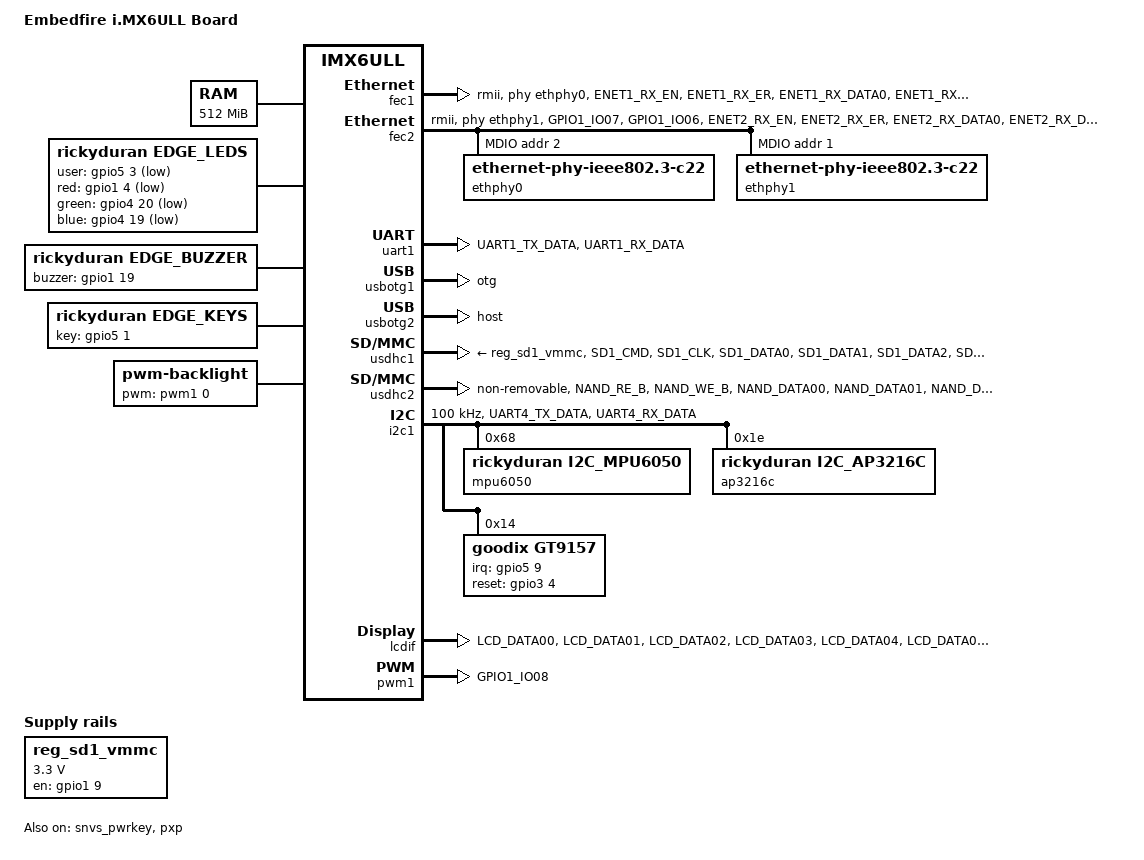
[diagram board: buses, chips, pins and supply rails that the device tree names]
/*
 * Copyright (C) 2016 Freescale Semiconductor, Inc.
 *
 * This program is free software; you can redistribute it and/or modify
 * it under the terms of the GNU General Public License version 2 as
 * published by the Free Software Foundation.
 */

/dts-v1/;

#include <dt-bindings/input/input.h>
#include "imx6ull.dtsi"

/ {
	model = "Embedfire i.MX6ULL Board";
	compatible = "fsl,imx6ull-14x14-evk", "fsl,imx6ull";

	aliases {
		pwm0 = &pwm1;
		pwm1 = &pwm2;
		pwm2 = &pwm3;
		pwm3 = &pwm4;
	};
	chosen {
		stdout-path = &uart1;
	};

	memory {
		reg = <0x80000000 0x20000000>;
	};

	reserved-memory {
		#address-cells = <1>;
		#size-cells = <1>;
		ranges;

		linux,cma {
			compatible = "shared-dma-pool";
			reusable;
			size = <0x14000000>;
			linux,cma-default;
		};
	};

	regulators {
		compatible = "simple-bus";
		#address-cells = <1>;
		#size-cells = <0>;


		reg_sd1_vmmc: regulator@1 {
			compatible = "regulator-fixed";
			regulator-name = "VSD_3V3";
			regulator-min-microvolt = <3300000>;
			regulator-max-microvolt = <3300000>;
			gpio = <&gpio1 9 GPIO_ACTIVE_HIGH>;
			off-on-delay = <20000>;
			enable-active-high;
		};
/*
		reg_gpio_dvfs: regulator-gpio {
			compatible = "regulator-gpio";
			pinctrl-names = "default";
			pinctrl-0 = <&pinctrl_dvfs>;
			regulator-min-microvolt = <1300000>;
			regulator-max-microvolt = <1400000>;
			regulator-name = "gpio_dvfs";
			regulator-type = "voltage";
			gpios = <&gpio5 3 GPIO_ACTIVE_HIGH>;
			states = <1300000 0x1 1400000 0x0>;
		};
*/
	};

	leds {
		compatible = "gpio-leds";
		pinctrl-names = "default";
		pinctrl-0 = <&pinctrl_led>;
		status = "disabled";

		led0: cpu {
			label = "cpu";
			gpios = <&gpio5 3 GPIO_ACTIVE_LOW>;
			default-state = "on";
			linux,default-trigger = "heartbeat";
		};
	};

	edge_leds {
		compatible = "rickyduran,edge_leds";
		pinctrl-names = "default";
		pinctrl-0 = <&pinctrl_leds &pinctrl_led>;

		user-gpios  = <&gpio5 3 GPIO_ACTIVE_LOW>;
		red-gpios   = <&gpio1 4 GPIO_ACTIVE_LOW>;
		green-gpios = <&gpio4 20 GPIO_ACTIVE_LOW>;
		blue-gpios  = <&gpio4 19 GPIO_ACTIVE_LOW>;

		status = "okay";
	};


	edge_buzzer {
		compatible = "rickyduran,edge_buzzer";
		pinctrl-names = "default";
		pinctrl-0 = <&pinctrl_buzzer>;

		buzzer-gpios = <&gpio1 19 GPIO_ACTIVE_HIGH>;

		status = "okay";
	};


	edge_keys {
		compatible = "rickyduran,edge_keys";
		pinctrl-names = "default";
		pinctrl-0 = <&pinctrl_key>;

		key-gpios = <&gpio5 1 GPIO_ACTIVE_HIGH>;
		key-code = <KEY_ENTER>;
		debounce-ms = <20>;

		status = "okay";
	};
	
	backlight {
		compatible = "pwm-backlight";
		pwms = <&pwm1 0 5000000>;
		brightness-levels = <0 4 8 16 32 64 128 255>;
		default-brightness-level = <6>;
		status = "okay";
	};


	/* External sound card */
	sound: sound {
				status = "disabled";
	};

	spi4: 74hc595 {
		compatible = "spi-gpio";
		pinctrl-names = "default";
		pinctrl-0 = <&pinctrl_spi4>;
		pinctrl-assert-gpios = <&gpio5 8 GPIO_ACTIVE_LOW>;
		status = "disabled";
		gpio-sck = <&gpio5 11 0>;
		gpio-mosi = <&gpio5 10 0>;
		cs-gpios = <&gpio5 7 0>;
		num-chipselects = <1>;
		#address-cells = <1>;
		#size-cells = <0>;

		gpio_spi: gpio_spi@0 {
			compatible = "fairchild,74hc595";
			gpio-controller;
			#gpio-cells = <2>;
			reg = <0>;
			registers-number = <1>;
			registers-default = /bits/ 8 <0x57>;
			spi-max-frequency = <100000>;
		};
	};
};

&cpu0 {
	/*dc-supply = <&reg_gpio_dvfs>;*/
	clock-frequency = <800000000>;
};

&clks {
	assigned-clocks = <&clks IMX6UL_CLK_PLL4_AUDIO_DIV>;
	assigned-clock-rates = <786432000>;
};


&fec1 {
	pinctrl-names = "default";
	pinctrl-0 = <&pinctrl_enet1>;
	phy-mode = "rmii";
	phy-handle = <&ethphy0>;
	status = "okay";
};

&fec2 {
	pinctrl-names = "default";
	pinctrl-0 = <&pinctrl_enet2>;
	phy-mode = "rmii";
	phy-handle = <&ethphy1>;
	status = "okay";

	mdio {
		#address-cells = <1>;
		#size-cells = <0>;

		ethphy0: ethernet-phy@2 {
			compatible = "ethernet-phy-ieee802.3-c22";
			reg = <2>;
			micrel,led-mode = <1>;
			clocks = <&clks IMX6UL_CLK_ENET_REF>;
			clock-names = "rmii-ref";
		};

		ethphy1: ethernet-phy@1 {
			compatible = "ethernet-phy-ieee802.3-c22";
			reg = <1>;
			micrel,led-mode = <1>;
			clocks = <&clks IMX6UL_CLK_ENET2_REF>;
			clock-names = "rmii-ref";
		};
	};
};


&gpc {
	fsl,cpu_pupscr_sw2iso = <0xf>;
	fsl,cpu_pupscr_sw = <0x0>;
	fsl,cpu_pdnscr_iso2sw = <0x1>;
	fsl,cpu_pdnscr_iso = <0x1>;
	fsl,ldo-bypass = <0>; /* DCDC, ldo-enable */
};


&iomuxc {
	pinctrl-names = "default";
	pinctrl-0 = <&pinctrl_hog_1>;

	pinctrl_hog_1: hoggrp-1 {
		fsl,pins = <
			/* MX6UL_PAD_UART1_RTS_B__GPIO1_IO19	0x17059 */  /* SD1 CD */
			MX6UL_PAD_GPIO1_IO05__USDHC1_VSELECT	0x17059 /* SD1 VSELECT */
			MX6UL_PAD_GPIO1_IO09__GPIO1_IO09        0x17059 /* SD1 RESET */
		>;
	};

	pinctrl_enet1: enet1grp {
		fsl,pins = <
			MX6UL_PAD_ENET1_RX_EN__ENET1_RX_EN	0x1b0b0
			MX6UL_PAD_ENET1_RX_ER__ENET1_RX_ER	0x1b0b0
			MX6UL_PAD_ENET1_RX_DATA0__ENET1_RDATA00	0x1b0b0
			MX6UL_PAD_ENET1_RX_DATA1__ENET1_RDATA01	0x1b0b0
			MX6UL_PAD_ENET1_TX_EN__ENET1_TX_EN	0x1b0b0
			MX6UL_PAD_ENET1_TX_DATA0__ENET1_TDATA00	0x1b0b0
			MX6UL_PAD_ENET1_TX_DATA1__ENET1_TDATA01	0x1b0b0
			MX6UL_PAD_ENET1_TX_CLK__ENET1_REF_CLK1	0x4001b031
		>;
	};

	pinctrl_enet2: enet2grp {
		fsl,pins = <
			MX6UL_PAD_GPIO1_IO07__ENET2_MDC		0x1b0b0
			MX6UL_PAD_GPIO1_IO06__ENET2_MDIO	0x1b0b0
			MX6UL_PAD_ENET2_RX_EN__ENET2_RX_EN	0x1b0b0
			MX6UL_PAD_ENET2_RX_ER__ENET2_RX_ER	0x1b0b0
			MX6UL_PAD_ENET2_RX_DATA0__ENET2_RDATA00	0x1b0b0
			MX6UL_PAD_ENET2_RX_DATA1__ENET2_RDATA01	0x1b0b0
			MX6UL_PAD_ENET2_TX_EN__ENET2_TX_EN	0x1b0b0
			MX6UL_PAD_ENET2_TX_DATA0__ENET2_TDATA00	0x1b0b0
			MX6UL_PAD_ENET2_TX_DATA1__ENET2_TDATA01	0x1b0b0
			MX6UL_PAD_ENET2_TX_CLK__ENET2_REF_CLK2	0x4001b031
		>;
	};

	pinctrl_uart1: uart1grp {
		fsl,pins = <
			MX6UL_PAD_UART1_TX_DATA__UART1_DCE_TX 0x1b0b1
			MX6UL_PAD_UART1_RX_DATA__UART1_DCE_RX 0x1b0b1
		>;
	};

/*
        pinctrl_dvfs: dvfsgrp {
                fsl,pins = <
                        MX6ULL_PAD_SNVS_TAMPER3__GPIO5_IO03      0x79
                >;
        };
*/
	pinctrl_usdhc1: usdhc1grp {
		fsl,pins = <
			MX6UL_PAD_SD1_CMD__USDHC1_CMD     0x17059
			MX6UL_PAD_SD1_CLK__USDHC1_CLK     0x10071
			MX6UL_PAD_SD1_DATA0__USDHC1_DATA0 0x17059
			MX6UL_PAD_SD1_DATA1__USDHC1_DATA1 0x17059
			MX6UL_PAD_SD1_DATA2__USDHC1_DATA2 0x17059
			MX6UL_PAD_SD1_DATA3__USDHC1_DATA3 0x17059
		>;
	};

	pinctrl_usdhc1_100mhz: usdhc1grp100mhz {
		fsl,pins = <
			MX6UL_PAD_SD1_CMD__USDHC1_CMD     0x170b9
			MX6UL_PAD_SD1_CLK__USDHC1_CLK     0x100b9
			MX6UL_PAD_SD1_DATA0__USDHC1_DATA0 0x170b9
			MX6UL_PAD_SD1_DATA1__USDHC1_DATA1 0x170b9
			MX6UL_PAD_SD1_DATA2__USDHC1_DATA2 0x170b9
			MX6UL_PAD_SD1_DATA3__USDHC1_DATA3 0x170b9
		>;
	};

	pinctrl_usdhc1_200mhz: usdhc1grp200mhz {
		fsl,pins = <
			MX6UL_PAD_SD1_CMD__USDHC1_CMD     0x170f9
			MX6UL_PAD_SD1_CLK__USDHC1_CLK     0x100f9
			MX6UL_PAD_SD1_DATA0__USDHC1_DATA0 0x170f9
			MX6UL_PAD_SD1_DATA1__USDHC1_DATA1 0x170f9
			MX6UL_PAD_SD1_DATA2__USDHC1_DATA2 0x170f9
			MX6UL_PAD_SD1_DATA3__USDHC1_DATA3 0x170f9
		>;
	};

	pinctrl_usdhc2: usdhc2grp {
		fsl,pins = <
			MX6UL_PAD_NAND_RE_B__USDHC2_CLK     0x10069
			MX6UL_PAD_NAND_WE_B__USDHC2_CMD     0x17059
			MX6UL_PAD_NAND_DATA00__USDHC2_DATA0 0x17059
			MX6UL_PAD_NAND_DATA01__USDHC2_DATA1 0x17059
			MX6UL_PAD_NAND_DATA02__USDHC2_DATA2 0x17059
			MX6UL_PAD_NAND_DATA03__USDHC2_DATA3 0x17059
		>;
	};

	pinctrl_usdhc2_8bit: usdhc2grp_8bit {
		fsl,pins = <
			MX6UL_PAD_NAND_RE_B__USDHC2_CLK     0x10059
			MX6UL_PAD_NAND_WE_B__USDHC2_CMD     0x17059
			MX6UL_PAD_NAND_DATA00__USDHC2_DATA0 0x17059
			MX6UL_PAD_NAND_DATA01__USDHC2_DATA1 0x17059
			MX6UL_PAD_NAND_DATA02__USDHC2_DATA2 0x17059
			MX6UL_PAD_NAND_DATA03__USDHC2_DATA3 0x17059
			MX6UL_PAD_NAND_DATA04__USDHC2_DATA4 0x17059
			MX6UL_PAD_NAND_DATA05__USDHC2_DATA5 0x17059
			MX6UL_PAD_NAND_DATA06__USDHC2_DATA6 0x17059
			MX6UL_PAD_NAND_DATA07__USDHC2_DATA7 0x17059
		>;
	};

	pinctrl_usdhc2_8bit_100mhz: usdhc2grp_8bit_100mhz {
		fsl,pins = <
			MX6UL_PAD_NAND_RE_B__USDHC2_CLK     0x100b9
			MX6UL_PAD_NAND_WE_B__USDHC2_CMD     0x170b9
			MX6UL_PAD_NAND_DATA00__USDHC2_DATA0 0x170b9
			MX6UL_PAD_NAND_DATA01__USDHC2_DATA1 0x170b9
			MX6UL_PAD_NAND_DATA02__USDHC2_DATA2 0x170b9
			MX6UL_PAD_NAND_DATA03__USDHC2_DATA3 0x170b9
			MX6UL_PAD_NAND_DATA04__USDHC2_DATA4 0x170b9
			MX6UL_PAD_NAND_DATA05__USDHC2_DATA5 0x170b9
			MX6UL_PAD_NAND_DATA06__USDHC2_DATA6 0x170b9
			MX6UL_PAD_NAND_DATA07__USDHC2_DATA7 0x170b9
		>;
	};

	pinctrl_usdhc2_8bit_200mhz: usdhc2grp_8bit_200mhz {
		fsl,pins = <
			MX6UL_PAD_NAND_RE_B__USDHC2_CLK     0x100f9
			MX6UL_PAD_NAND_WE_B__USDHC2_CMD     0x170f9
			MX6UL_PAD_NAND_DATA00__USDHC2_DATA0 0x170f9
			MX6UL_PAD_NAND_DATA01__USDHC2_DATA1 0x170f9
			MX6UL_PAD_NAND_DATA02__USDHC2_DATA2 0x170f9
			MX6UL_PAD_NAND_DATA03__USDHC2_DATA3 0x170f9
			MX6UL_PAD_NAND_DATA04__USDHC2_DATA4 0x170f9
			MX6UL_PAD_NAND_DATA05__USDHC2_DATA5 0x170f9
			MX6UL_PAD_NAND_DATA06__USDHC2_DATA6 0x170f9
			MX6UL_PAD_NAND_DATA07__USDHC2_DATA7 0x170f9
		>;
	};
	pinctrl_led: ledgrp {
			fsl,pins = <
				MX6ULL_PAD_SNVS_TAMPER3__GPIO5_IO03 0x1b0b0
			>;
		};
	pinctrl_leds: ledsgrp {
        fsl,pins = <
            /* RGB Red: GPIO_4 / pwm3.OUT */
            MX6UL_PAD_GPIO1_IO04__GPIO1_IO04      0x10B0

            /* RGB Green: CSI_HSYNC / pwm8.OUT */
            MX6UL_PAD_CSI_HSYNC__GPIO4_IO20       0x10B0

            /* RGB Blue: CSI_VSYNC / pwm7.OUT */
            MX6UL_PAD_CSI_VSYNC__GPIO4_IO19       0x10B0
        >;
    };
	pinctrl_buzzer: buzzergrp {
        fsl,pins = <
            /* Buzzer: UART1_RTS / GPIO1_IO19 */
            MX6UL_PAD_UART1_RTS_B__GPIO1_IO19     0x10B0
        >;
    };
	pinctrl_touchkey: touchkeygrp {
        fsl,pins = <
            /* Optional touch key: GPIO_0 / GPIO1_IO00 */
            MX6UL_PAD_GPIO1_IO00__GPIO1_IO00      0x1B0B0
        >;
    };
	pinctrl_i2c1: i2c1grp {
		fsl,pins = <
			MX6UL_PAD_UART4_TX_DATA__I2C1_SCL  0x4001b8b0
			MX6UL_PAD_UART4_RX_DATA__I2C1_SDA  0x4001b8b0
		>;
	};
	pinctrl_pwm1: pwm1grp {
        fsl,pins = <
              MX6UL_PAD_GPIO1_IO08__PWM1_OUT 0x110b0
        >;
    };
	pinctrl_lcdif_dat: lcdifdatgrp {
        fsl,pins = <
            MX6UL_PAD_LCD_DATA00__LCDIF_DATA00  0x79
            MX6UL_PAD_LCD_DATA01__LCDIF_DATA01  0x79
            MX6UL_PAD_LCD_DATA02__LCDIF_DATA02  0x79
            MX6UL_PAD_LCD_DATA03__LCDIF_DATA03  0x79
            MX6UL_PAD_LCD_DATA04__LCDIF_DATA04  0x79
            MX6UL_PAD_LCD_DATA05__LCDIF_DATA05  0x79
            MX6UL_PAD_LCD_DATA06__LCDIF_DATA06  0x79
            MX6UL_PAD_LCD_DATA07__LCDIF_DATA07  0x79
            MX6UL_PAD_LCD_DATA08__LCDIF_DATA08  0x79
            MX6UL_PAD_LCD_DATA09__LCDIF_DATA09  0x79
            MX6UL_PAD_LCD_DATA10__LCDIF_DATA10  0x79
            MX6UL_PAD_LCD_DATA11__LCDIF_DATA11  0x79
            MX6UL_PAD_LCD_DATA12__LCDIF_DATA12  0x79
            MX6UL_PAD_LCD_DATA13__LCDIF_DATA13  0x79
            MX6UL_PAD_LCD_DATA14__LCDIF_DATA14  0x79
            MX6UL_PAD_LCD_DATA15__LCDIF_DATA15  0x79
            MX6UL_PAD_LCD_DATA16__LCDIF_DATA16  0x79
            MX6UL_PAD_LCD_DATA17__LCDIF_DATA17  0x79
            MX6UL_PAD_LCD_DATA18__LCDIF_DATA18  0x79
            MX6UL_PAD_LCD_DATA19__LCDIF_DATA19  0x79
            MX6UL_PAD_LCD_DATA20__LCDIF_DATA20  0x79
            MX6UL_PAD_LCD_DATA21__LCDIF_DATA21  0x79
            MX6UL_PAD_LCD_DATA22__LCDIF_DATA22  0x79
            MX6UL_PAD_LCD_DATA23__LCDIF_DATA23  0x79
        >;
    };
	pinctrl_lcdif_ctrl: lcdifctrlgrp {
        fsl,pins = <
            MX6UL_PAD_LCD_CLK__LCDIF_CLK        0x79
            MX6UL_PAD_LCD_ENABLE__LCDIF_ENABLE  0x79
            MX6UL_PAD_LCD_HSYNC__LCDIF_HSYNC    0x79
            MX6UL_PAD_LCD_VSYNC__LCDIF_VSYNC    0x79
        >;
    };
	pinctrl_gt9157_rst: gt9157rstgrp {
        fsl,pins = <
            MX6UL_PAD_LCD_RESET__GPIO3_IO04 0x10b0
        >;
    };
};

&iomuxc_snvs {
	pinctrl-names = "default_snvs";
	pinctrl-0 = <&pinctrl_hog_2>;
	pinctrl_hog_2: hoggrp-2 {
		fsl,pins = <
			MX6ULL_PAD_SNVS_TAMPER0__GPIO5_IO00      0x80000000
		>;
	};
	pinctrl_spi4: spi4grp {
					fsl,pins = <
						MX6ULL_PAD_BOOT_MODE0__GPIO5_IO10		0x70a1
						MX6ULL_PAD_BOOT_MODE1__GPIO5_IO11		0x70a1
						MX6ULL_PAD_SNVS_TAMPER7__GPIO5_IO07		0x70a1
						MX6ULL_PAD_SNVS_TAMPER8__GPIO5_IO08		0x80000000
					>;
	};
    pinctrl_key: keygrp {
        fsl,pins = <
            /* KEY: SNVS_TAMPER1 / GPIO5_IO01 */
            MX6ULL_PAD_SNVS_TAMPER1__GPIO5_IO01   0x1B0B0
        >;
    };
	pinctrl_gt9157_irq: gt9157irqgrp {
        fsl,pins = <
            MX6ULL_PAD_SNVS_TAMPER9__GPIO5_IO09 0x1b0b0
        >;
    };
};

&snvs_pwrkey {
	status = "okay";
};

&pxp {
	status = "okay";
};


&uart1 {
	pinctrl-names = "default";
	pinctrl-0 = <&pinctrl_uart1>;
	status = "okay";
};


&usbotg1 {
	dr_mode = "otg";
	srp-disable;
	hnp-disable;
	adp-disable;
	status = "okay";
};

&usbotg2 {
	dr_mode = "host";
	disable-over-current;
	status = "okay";
};

&usbphy1 {
	fsl,tx-d-cal = <106>;
};

&usbphy2 {
	fsl,tx-d-cal = <106>;
};

&usdhc1 {
	pinctrl-names = "default", "state_100mhz", "state_200mhz";
	pinctrl-0 = <&pinctrl_usdhc1>;
	pinctrl-1 = <&pinctrl_usdhc1_100mhz>;
	pinctrl-2 = <&pinctrl_usdhc1_200mhz>;
	no-1-8-v;
	/*cd-gpios = <&gpio1 19 GPIO_ACTIVE_LOW>;*/
	keep-power-in-suspend;
	/*non-removable;*/
	enable-sdio-wakeup;
	vmmc-supply = <&reg_sd1_vmmc>;
	status = "okay";
};

&usdhc2 {
	pinctrl-names = "default";
	pinctrl-0 = <&pinctrl_usdhc2_8bit>;
	non-removable;
	status = "okay";
};

&i2c1 {
    clock-frequency = <100000>;
	pinctrl-names = "default";
    pinctrl-0 = <&pinctrl_i2c1>;
    status = "okay";

    mpu6050@68 {
        compatible = "rickyduran,i2c_mpu6050";
        reg = <0x68>;
        status = "okay";
    };

    ap3216c@1e {
        compatible = "rickyduran,i2c_ap3216c";
        reg = <0x1e>;
        status = "okay";
    };

	gt9157: touchscreen@14 {
        compatible = "goodix,gt9157", "goodix,gt911";
        reg = <0x14>;

        pinctrl-names = "default";
        pinctrl-0 = <&pinctrl_gt9157_irq &pinctrl_gt9157_rst>;

        interrupt-parent = <&gpio5>;
        interrupts = <9 IRQ_TYPE_EDGE_FALLING>;

        irq-gpios = <&gpio5 9 GPIO_ACTIVE_HIGH>;
        reset-gpios = <&gpio3 4 GPIO_ACTIVE_HIGH>;

        touchscreen-size-x = <800>;
        touchscreen-size-y = <480>;

        status = "okay";
    };
};

&lcdif {
    pinctrl-names = "default";
    pinctrl-0 = <&pinctrl_lcdif_dat
                 &pinctrl_lcdif_ctrl>;

    display = <&display0>;
    status = "okay";

    display0: display {
        bits-per-pixel = <32>;
        bus-width = <24>;

        display-timings {
            native-mode = <&timing0>;

            timing0: timing0 {
                clock-frequency = <33000000>;

                hactive = <800>;
                vactive = <480>;

                hfront-porch = <40>;
                hback-porch = <88>;
                hsync-len = <48>;

                vfront-porch = <13>;
                vback-porch = <32>;
                vsync-len = <3>;

                hsync-active = <0>;
                vsync-active = <0>;
                de-active = <1>;
                pixelclk-active = <0>;
            };
        };
    };
};

&pwm1 {
    pinctrl-names = "default";
    pinctrl-0 = <&pinctrl_pwm1>;
    status = "okay";
};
